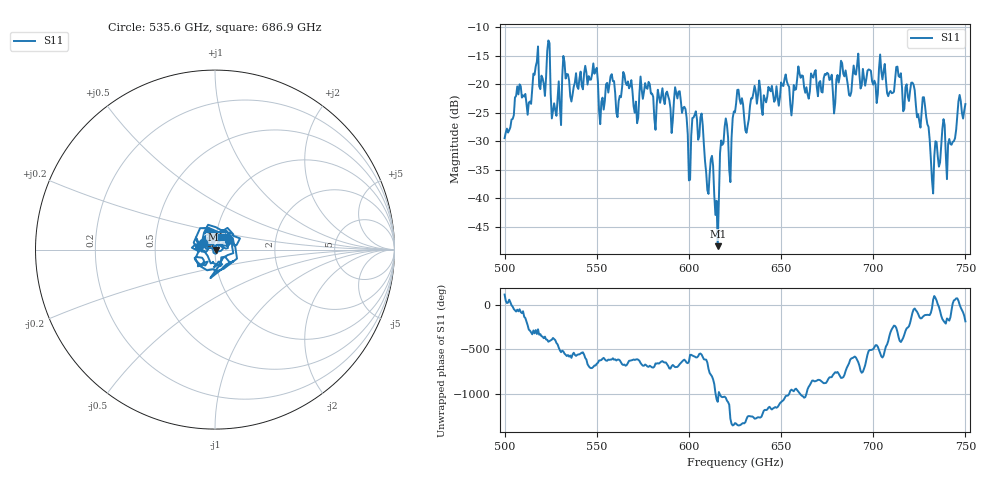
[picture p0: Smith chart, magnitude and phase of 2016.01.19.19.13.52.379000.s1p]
!Created with skrf (http://scikit-rf.org).
# GHz S RI R 50.0
!freq ReS11 ImS11
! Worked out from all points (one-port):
!   401 points, 500 GHz to 750 GHz, reference 50 ohm
!   lowest |S11| = -48.4 dB at 615.6 GHz (marker M1), VSWR 1.01, Z = 50.4 - j0.051 ohm
!   |S11| at or under -10 dB: start of sweep to end of sweep
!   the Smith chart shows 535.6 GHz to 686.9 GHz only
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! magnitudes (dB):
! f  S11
! 500 GHz  -29.5
! 507.5 GHz  -21.8
! 513.1 GHz  -23.2
! 516.9 GHz  -16.9
! 523.8 GHz  -12.3
! 526.9 GHz  -23.3
! 531.2 GHz  -18.7
! 548.8 GHz  -18.1
! 552.5 GHz  -23.1
! 558.1 GHz  -18.2
! 562.5 GHz  -22.0
! 593.8 GHz  -22.5
! 600 GHz  -36.9
! 603.1 GHz  -25.4
! 606.9 GHz  -25.1
! 610 GHz  -38.6
! 615.6 GHz  -48.4
! 618.8 GHz  -30.3
! 622.5 GHz  -37.2
! 625 GHz  -24.9
! 656.2 GHz  -23.3
! 660.6 GHz  -18.9
! 687.5 GHz  -22.0
! 690.6 GHz  -18.3
! 718.8 GHz  -22.2
! 728.1 GHz  -23.9
! 731.9 GHz  -36.8
! 750 GHz  -23.5
